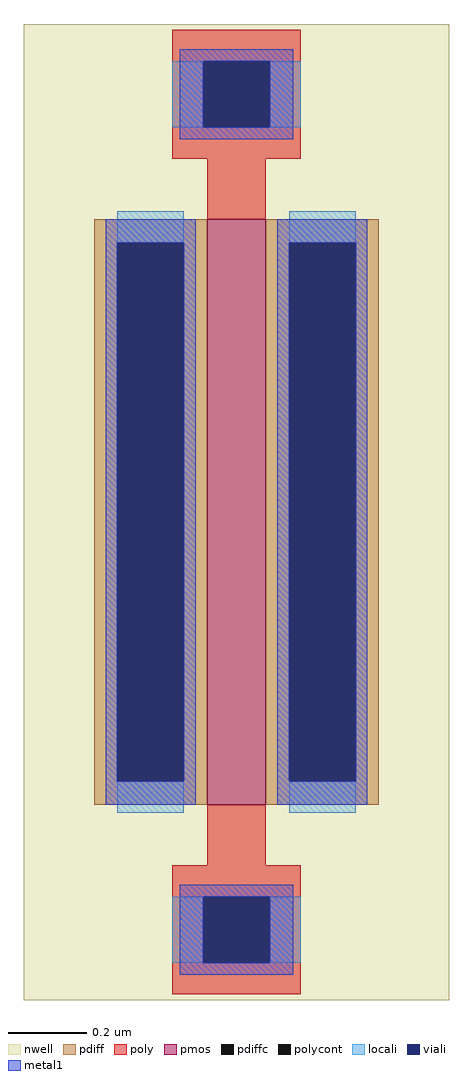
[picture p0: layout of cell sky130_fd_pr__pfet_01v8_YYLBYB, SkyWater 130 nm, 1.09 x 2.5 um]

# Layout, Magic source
magic
tech sky130A
magscale 1 2
<< nwell >>
rect -109 -250 109 250
<< pmos >>
rect -15 -150 15 150
<< pdiff >>
rect -73 138 -15 150
rect -73 -138 -61 138
rect -27 -138 -15 138
rect -73 -150 -15 -138
rect 15 138 73 150
rect 15 -138 27 138
rect 61 -138 73 138
rect 15 -150 73 -138
<< pdiffc >>
rect -61 -138 -27 138
rect 27 -138 61 138
<< poly >>
rect -33 231 33 247
rect -33 197 -17 231
rect 17 197 33 231
rect -33 181 33 197
rect -15 150 15 181
rect -15 -181 15 -150
rect -33 -197 33 -181
rect -33 -231 -17 -197
rect 17 -231 33 -197
rect -33 -247 33 -231
<< polycont >>
rect -17 197 17 231
rect -17 -231 17 -197
<< locali >>
rect -33 197 -17 231
rect 17 197 33 231
rect -61 138 -27 154
rect -61 -154 -27 -138
rect 27 138 61 154
rect 27 -154 61 -138
rect -33 -231 -17 -197
rect 17 -231 33 -197
<< viali >>
rect -17 197 17 231
rect -61 -138 -27 138
rect 27 -138 61 138
rect -17 -231 17 -197
<< metal1 >>
rect -29 231 29 237
rect -29 197 -17 231
rect 17 197 29 231
rect -29 191 29 197
rect -67 138 -21 150
rect -67 -138 -61 138
rect -27 -138 -21 138
rect -67 -150 -21 -138
rect 21 138 67 150
rect 21 -138 27 138
rect 61 -138 67 138
rect 21 -150 67 -138
rect -29 -197 29 -191
rect -29 -231 -17 -197
rect 17 -231 29 -197
rect -29 -237 29 -231
<< properties >>
string gencell sky130_fd_pr__pfet_01v8
string parameters w 1.5 l 0.15 m 1 nf 1 diffcov 100 polycov 100 guard 0 glc 1 grc 1 gtc 1 gbc 0 tbcov 100 rlcov 100 topc 1 botc 1 poverlap 0 doverlap 1 lmin 0.15 wmin 0.42 compatible {sky130_fd_pr__pfet_01v8  sky130_fd_pr__pfet_01v8_lvt sky130_fd_pr__pfet_01v8_hvt  sky130_fd_pr__pfet_g5v0d10v5} full_metal 0 viagl 0 viagr 0 viagt 0 viagb 0 viagate 100 viadrn 100 viasrc 100
string library sky130
<< end >>
